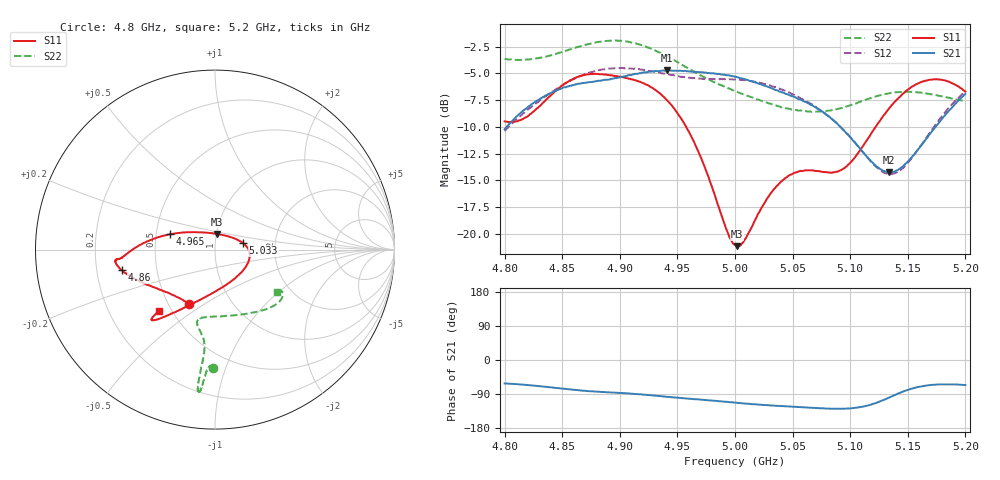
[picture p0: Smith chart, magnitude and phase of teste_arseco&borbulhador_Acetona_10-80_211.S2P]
! Network Analyzer HP8722D
! Hewlett-Packard
! Data name: Linha & Wilkinson
! Saver's name: Rodrigo Anjos
! Comments: Teste da utilização de aquisição
! continua pelo VNA HP8722D
! Time and date: 17/4/2025 16:07
!  Frequency  S11  S21  S12  S22
# HZ  S  MA R 50
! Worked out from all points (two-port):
!   401 points, 4.8 GHz to 5.2 GHz, reference 50 ohm
!   highest |S21| = -4.72 dB at 4.941 GHz (marker M1); lowest = -14.2 dB at 5.134 GHz (marker M2)
!   |S21| within 3 dB of the highest: 4.826 GHz to 5.062 GHz (236.6 MHz wide, 4.79 % of centre); 5.192373 GHz to end of sweep
!   lowest |S11| = -21.1 dB at 5.002 GHz (marker M3), VSWR 1.19, Z = 50.5 + j8.84 ohm
!   |S11| at or under -10 dB: 4.958 GHz to 5.122 GHz (164.4 MHz wide, 3.26 % of centre)
!   |S22| runs from -8.6 to -1.9 dB; largest |S21 - S12| = 0.87
!   S11 on the Smith chart (normalised r, x): 4.8 GHz: 0.63, -0.43; 4.86 GHz: 0.31, -0.10; 4.965 GHz: 0.59, +0.11; 5.033 GHz: 1.36, +0.10; 5.2 GHz: 0.43, -0.37
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4.8e9  0.3358 -115.9  0.3084 -61.9  0.3026 -176.1  0.6581 -91.0
4.819e9  0.352 -136.0  0.3861 -65.8  0.3755 -175.4  0.6531 -92.7
4.86e9  0.5322 -167.5  0.4964 -78.5  0.5286 -178.7  0.7365 -95.0
4.867e9  0.5483 -170.3  0.506 -80.8  0.5498 -180.0  0.7568 -95.3
4.899e9  0.5437 -174.4  0.5386 -86.9  0.5951 173.8  0.7981 -96.7
4.934e9  0.457 179.8  0.5767 -95.1  0.5673 170.4  0.7061 -97.0
4.941e9  0.4212 176.6  0.5806 -97.0  0.5573 170.5  0.6752 -96.8
4.965e9  0.2648 161.2  0.5735 -103.4  0.5336 172.5  0.5698 -96.0
4.993e9  0.1037 114.8  0.5513 -110.5  0.5283 174.6  0.4819 -98.6
5e9  0.08891 89.6  0.5422 -112.6  0.5274 174.7  0.4644 -99.9
5.002e9  0.08772 81.8  0.5396 -113.2  0.526 174.7  0.461 -100.3
5.008e9  0.0932 59.5  0.5286 -114.7  0.5229 174.6  0.4473 -101.7
5.033e9  0.16 13.4  0.4763 -120.1  0.4873 173.3  0.4018 -103.5
5.049e9  0.1897 -2.1  0.4404 -122.9  0.4522 172.8  0.3815 -99.1
5.067e9  0.1982 -21.4  0.3998 -126.2  0.4028 172.6  0.3718 -89.0
5.096e9  0.2054 -71.9  0.2982 -128.2  0.2991 174.7  0.3927 -66.4
5.121e9  0.3099 -110.1  0.2109 -114.9  0.2093 -169.8  0.4372 -49.6
5.134e9  0.3873 -120.2  0.1942 -98.8  0.19 -151.7  0.4545 -43.2
5.146e9  0.4533 -125.8  0.2074 -83.1  0.2034 -133.7  0.4617 -38.6
5.167e9  0.5211 -131.1  0.2817 -67.1  0.2863 -113.7  0.4521 -33.2
5.184e9  0.5173 -132.6  0.3678 -64.1  0.3796 -108.3  0.4342 -32.1
5.2e9  0.4616 -132.6  0.4507 -66.1  0.4628 -108.3  0.4169 -34.5
